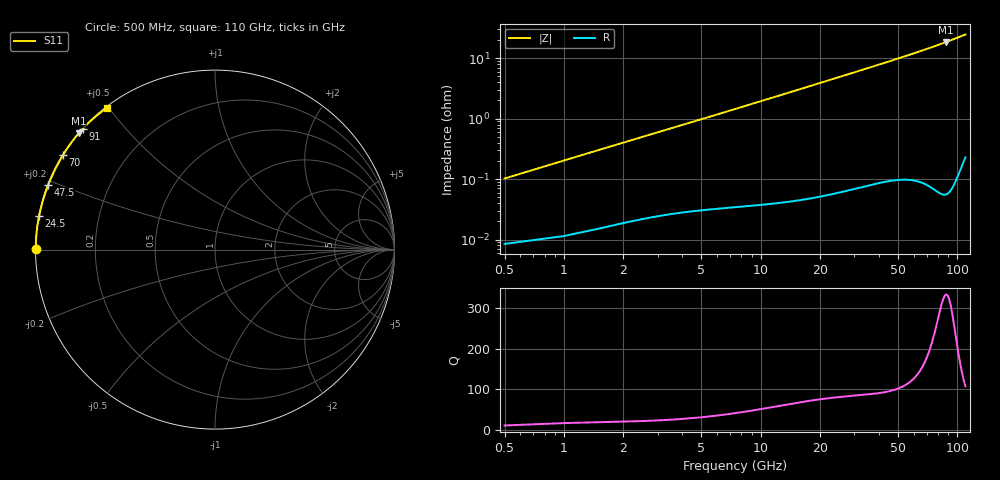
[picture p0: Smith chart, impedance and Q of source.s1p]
! AWR Design Environment (9307) Mon Sep  2 17:34:05 2019
! Document = 'Source EM Export'
! nPorts: 1, nXvals: 220
# GHz S DB R 50
!Freq DBS11 AngS11
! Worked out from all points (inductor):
!   220 points, 500 MHz to 110 GHz, reference 50 ohm
!   read as one part to ground: L = 32 pH near 1 GHz
!   highest Q = 331 at 87.5 GHz (marker M1), where L = 33.6 pH
!   S11 on the Smith chart (normalised r, x): 500 MHz: 0.00, +0.00; 24.5 GHz: 0.00, +0.10; 47.5 GHz: 0.00, +0.19; 70 GHz: 0.00, +0.28; 91 GHz: 0.00, +0.39; 110 GHz: 0.00, +0.49
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0.5  -0.00 179.8
8.5  -0.01 176.2
14.5  -0.01 173.6
19.5  -0.02 171.4
24.5  -0.02 169.1
28  -0.02 167.6
31.5  -0.02 166.0
35  -0.03 164.4
42  -0.03 161.3
47.5  -0.03 158.8
51.5  -0.03 156.9
55.5  -0.03 155.1
59  -0.03 153.5
62.5  -0.03 151.8
66  -0.03 150.2
69  -0.03 148.7
70  -0.03 148.2
73.5  -0.02 146.5
76.5  -0.02 145.0
80  -0.02 143.3
83  -0.02 141.8
87.5  -0.02 139.5
91  -0.02 137.6
96.5  -0.02 134.7
99.5  -0.03 133.1
103  -0.04 131.2
106.5  -0.05 129.3
110  -0.06 127.4
